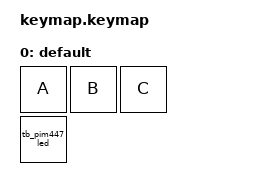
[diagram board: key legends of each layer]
/ {
    keymap {
        compatible = "zmk,keymap";

        default {
            bindings = <
                &kp A       &kp B       &kp C
                &tb_pim447_led  /* 트랙볼 LED 토글 */
            >;
        };
    };
};

/* behaviors.dtsi에서 tb_pim447_led 정의 필요 */
&behaviors {
    tb_pim447_led: trackball_pim447_led {
        compatible = "zmk,behavior-pim447-led";
        #binding-cells = <1>;
        trackball = <&pim447_trackball>;
        default-state = "on";
    };
};
